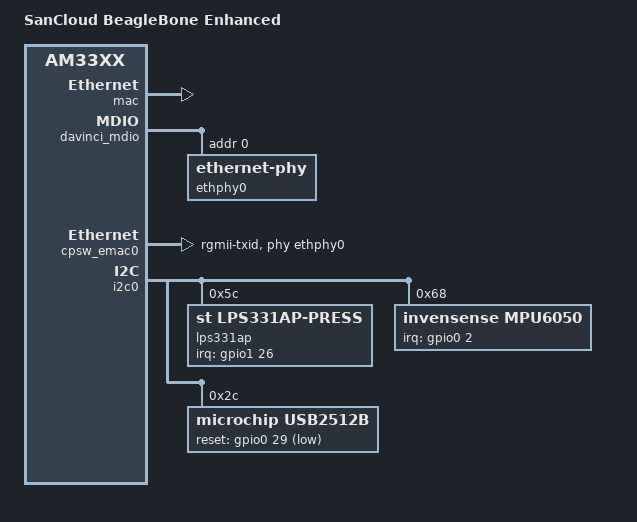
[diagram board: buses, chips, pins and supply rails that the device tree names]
/*
 * Copyright (C) 2012 Texas Instruments Incorporated - http://www.ti.com/
 *
 * This program is free software; you can redistribute it and/or modify
 * it under the terms of the GNU General Public License version 2 as
 * published by the Free Software Foundation.
 */
/dts-v1/;

#include "am33xx.dtsi"
#include "am335x-bone-common.dtsi"
#include "am335x-boneblack-common.dtsi"
#include <dt-bindings/interrupt-controller/irq.h>

/ {
	model = "SanCloud BeagleBone Enhanced";
	compatible = "sancloud,am335x-boneenhanced", "ti,am335x-bone-black", "ti,am335x-bone", "ti,am33xx";
};

&am33xx_pinmux {
	pinctrl-names = "default";

	cpsw_default: cpsw_default {
		pinctrl-single,pins = <
			/* Slave 1 */
			AM33XX_IOPAD(0x914, PIN_OUTPUT_PULLDOWN | MUX_MODE2)	/* mii1_txen.rgmii1_tctl */
			AM33XX_IOPAD(0x918, PIN_INPUT_PULLDOWN | MUX_MODE2)	/* mii1_rxdv.rgmii1_rctl */
			AM33XX_IOPAD(0x91c, PIN_OUTPUT_PULLDOWN | MUX_MODE2)	/* mii1_txd3.rgmii1_td3 */
			AM33XX_IOPAD(0x920, PIN_OUTPUT_PULLDOWN | MUX_MODE2)	/* mii1_txd2.rgmii1_td2 */
			AM33XX_IOPAD(0x924, PIN_OUTPUT_PULLDOWN | MUX_MODE2)	/* mii1_txd1.rgmii1_td1 */
			AM33XX_IOPAD(0x928, PIN_OUTPUT_PULLDOWN | MUX_MODE2)	/* mii1_txd0.rgmii1_td0 */
			AM33XX_IOPAD(0x92c, PIN_OUTPUT_PULLDOWN | MUX_MODE2)	/* mii1_txclk.rgmii1_tclk */
			AM33XX_IOPAD(0x930, PIN_INPUT_PULLDOWN | MUX_MODE2)	/* mii1_rxclk.rgmii1_rclk */
			AM33XX_IOPAD(0x934, PIN_INPUT_PULLDOWN | MUX_MODE2)	/* mii1_rxd3.rgmii1_rd3 */
			AM33XX_IOPAD(0x938, PIN_INPUT_PULLDOWN | MUX_MODE2)	/* mii1_rxd2.rgmii1_rd2 */
			AM33XX_IOPAD(0x93c, PIN_INPUT_PULLDOWN | MUX_MODE2)	/* mii1_rxd1.rgmii1_rd1 */
			AM33XX_IOPAD(0x940, PIN_INPUT_PULLDOWN | MUX_MODE2)	/* mii1_rxd0.rgmii1_rd0 */
		>;
	};

	cpsw_sleep: cpsw_sleep {
		pinctrl-single,pins = <
			/* Slave 1 reset value */
			AM33XX_IOPAD(0x914, PIN_INPUT_PULLDOWN | MUX_MODE7)
			AM33XX_IOPAD(0x918, PIN_INPUT_PULLDOWN | MUX_MODE7)
			AM33XX_IOPAD(0x91c, PIN_INPUT_PULLDOWN | MUX_MODE7)
			AM33XX_IOPAD(0x920, PIN_INPUT_PULLDOWN | MUX_MODE7)
			AM33XX_IOPAD(0x924, PIN_INPUT_PULLDOWN | MUX_MODE7)
			AM33XX_IOPAD(0x928, PIN_INPUT_PULLDOWN | MUX_MODE7)
			AM33XX_IOPAD(0x92c, PIN_INPUT_PULLDOWN | MUX_MODE7)
			AM33XX_IOPAD(0x930, PIN_INPUT_PULLDOWN | MUX_MODE7)
			AM33XX_IOPAD(0x934, PIN_INPUT_PULLDOWN | MUX_MODE7)
			AM33XX_IOPAD(0x938, PIN_INPUT_PULLDOWN | MUX_MODE7)
			AM33XX_IOPAD(0x93c, PIN_INPUT_PULLDOWN | MUX_MODE7)
			AM33XX_IOPAD(0x940, PIN_INPUT_PULLDOWN | MUX_MODE7)
		>;
	};

	davinci_mdio_default: davinci_mdio_default {
		pinctrl-single,pins = <
			/* MDIO */
			AM33XX_IOPAD(0x948, PIN_INPUT_PULLUP | SLEWCTRL_FAST | MUX_MODE0)	/* mdio_data.mdio_data */
			AM33XX_IOPAD(0x94c, PIN_OUTPUT_PULLUP | MUX_MODE0)			/* mdio_clk.mdio_clk */
		>;
	};

	davinci_mdio_sleep: davinci_mdio_sleep {
		pinctrl-single,pins = <
			/* MDIO reset value */
			AM33XX_IOPAD(0x948, PIN_INPUT_PULLDOWN | MUX_MODE7)
			AM33XX_IOPAD(0x94c, PIN_INPUT_PULLDOWN | MUX_MODE7)
		>;
	};

	usb_hub_ctrl: usb_hub_ctrl {
		pinctrl-single,pins = <
			AM33XX_IOPAD(0x944, PIN_OUTPUT_PULLUP | MUX_MODE7)     /* rmii1_refclk.gpio0_29 */
		>;
	};

	mpu6050_pins: pinmux_mpu6050_pins {
		pinctrl-single,pins = <
			AM33XX_IOPAD(0x968, PIN_INPUT | MUX_MODE7)    /* uart0_ctsn.gpio1_8 */
		>;
	};

	lps3331ap_pins: pinmux_lps3331ap_pins {
		pinctrl-single,pins = <
			AM33XX_IOPAD(0x868, PIN_INPUT | MUX_MODE7)     /* gpmc_a10.gpio1_26 */
		>;
	};
};

&mac {
	pinctrl-names = "default", "sleep";
	pinctrl-0 = <&cpsw_default>;
	pinctrl-1 = <&cpsw_sleep>;
	status = "okay";
};

&davinci_mdio {
	pinctrl-names = "default", "sleep";
	pinctrl-0 = <&davinci_mdio_default>;
	pinctrl-1 = <&davinci_mdio_sleep>;
	status = "okay";

	ethphy0: ethernet-phy@0 {
		reg = <0>;
	};
};

&cpsw_emac0 {
	phy-handle = <&ethphy0>;
	phy-mode = "rgmii-txid";
};

&i2c0 {
	lps331ap: barometer@5c {
		compatible = "st,lps331ap-press";
		st,drdy-int-pin = <1>;
		reg = <0x5c>;
		interrupt-parent = <&gpio1>;
		interrupts = <26 IRQ_TYPE_EDGE_RISING>;
	};

	mpu6050: accelerometer@68 {
		compatible = "invensense,mpu6050";
		reg = <0x68>;
		interrupt-parent = <&gpio0>;
		interrupts = <2 IRQ_TYPE_EDGE_RISING>;
		orientation = <0xff 0 0 0 1 0 0 0 0xff>;
	};

	usb2512b: usb-hub@2c {
		compatible = "microchip,usb2512b";
		reg = <0x2c>;
		reset-gpios = <&gpio0 29 GPIO_ACTIVE_LOW>;
		/* wifi on port 4 */
	};
};
